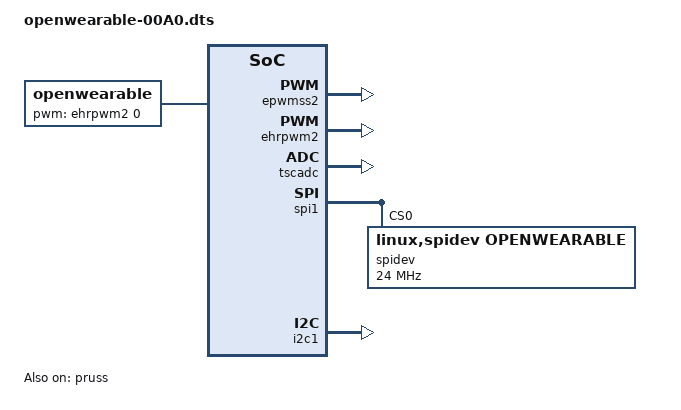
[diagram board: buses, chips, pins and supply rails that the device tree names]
/*
* Copyright (C) 2013 Matt Ranostay <mranostay@gmail.com>
*
* This program is free software; you can redistribute it and/or modify
* it under the terms of the GNU General Public License version 2 as
* published by the Free Software Foundation.
*/

/*
* Modified by Jonathan Realmuto <jonreal731@gmail.com>
*/


/dts-v1/;
/plugin/;

/ {
  compatible = "ti,beaglebone", "ti,beaglebone-black";

  /* identification */
  part-number = "OPENWEARABLE";
  version = "00A0";

  /* state the resources this cape uses */
  exclusive-use =

    /**** pru debug pins ****/
    "P9.27",  /* pr1_pru0_pru_r30_5 - debug pin */
    "P8.27",  /* pr1_pru1_pru_r30_8 - debug pin */

    /**** PWM pins ****/
    "P8.19",  /* ehrpwm2A */

    /**** Motor pins ***/
    "P8.28", /* pr1_pru1_pru_r30_10 - motor dir */
    "P8.29", /* pr1_pru1_pru_r30_9 - motor enb */

    /**** ADC Mux pin ****/
    "P9.25", /* pr1_pru0_pru_r30_7 - mux sel */

    /**** Vicon Sync ****/
    "P9.24", /* pr1_pru0_pru_r31_16 - vicon sync */

    /**** ADC pins ****/
    "P9.39",  /* AIN0 */
    "P9.40",  /* AIN1 */
    "P9.37",  /* AIN2 */
    "P9.38",  /* AIN3 */
    "P9.33",  /* AIN4 */
    "P9.36",  /* AIN5 */
    "P9.35",  /* AIN6 */

    /**** SPI1 pins ****/
    "P9.28",  /* SPI1_CS0 */
    "P9.42",  /* SPI1_CS1 */
    //"P9.19", /* SPI1_CS1 */
    //"P9.20", /* SPI1_CS0 */
    "P9.29",  /* SPI1_D0 */
    "P9.30",  /* SPI1_D1 */
    "P9.31",  /* SPI1_SCLK */

    /**** I2C1 pins ****/
    "P9.17",  /* I2C1_SCL */
    "P9.18",  /* I2C1_SDA */

    /* the hardware IP uses */
    "ehrpwm2A",
    "tscadc",
    "spi1",
    "i2c1",
    "pruss";

  /*----- pin mux -----*/

  /* Bit 6 - SLEWCTRL - 0 (fast) | 1 (slow)
   * Bit 5 - RXACTIVE - 0 (reciever disable) | 1 (reciever enable)
   * Bit 4 - PULLTYPESEL - 0 (pulldown) | 1 (pullup)
   * Bit 3 - PULLUDEN - 0 (enable) | 1 (disable)
   * Bit 2-0 - MUXMODE
   */

  fragment@0 {
    target = <&am33xx_pinmux>;
    __overlay__ {

      pwm_pins: pinmux_pwm_pins {
        pinctrl-single,pins = <
          0x020 0x0C  /* P8.19 - ehrpwm2A, MODE4 */
        >;
      };

      pruss_pins: pinmux_pruss_pins {
        pinctrl-single,pins = <
          0x1A4 0x15  /* P9.27 - pr1_pru0_pru_r30_5, MODE5 | OUTPUT | PU */
          0x0E0 0x15  /* P8.27 - pr1_pru1_pru_r30_8, MODE5 | OUTPUT | PU */
          0x0E8 0x15  /* P8.28 - pr1_pru1_pru_r30_10, MODE5 | OUTPUT | PU */
          0x0E4 0x15  /* P8.29 - pr1_pru1_pru_r30_9, MODE5 | OUTPUT | PU */
          0x1AC 0x15  /* P9.25 - pr1_pru0_pru_r30_7, MODE5 | OUTPUT | PU */
          0x184 0x26  /* P9.24 - pr1_pru0_pru_r31_16, MODE6 | INPUT | PD */
        >;
      };

      spi_pins: pinmux_spi_pins {
        pinctrl-single,pins = <
          0x19C 0x13  /* P9.28 - spi1_cs0,  MODE3 | OUTPUT_PULLUP */
          0x164 0x12  /* P9.42 - spi1_cs1, MODE2 | OUTPUT_PULLUP */
          0x1A0 0x06  /* P9.42 alternate mux -- set as input */
          0x194 0x33  /* P9.29 - spi1_d0, MODE3 | INPUT_PULLUP */
          0x198 0x13  /* P9.30 - spi1_d1, MODE3 | OUTPUT_PULLUP */
          0x190 0x33  /* P9.31 - spi1_sclk, MODE3 | INPUT_PULLUP */
        >;
      };

      i2c1_pins: pinmux_i2c1_pins{
        pinctrl-single,pins = <
          0x15C 0x72  /* P9.17 - i2c1_scl, MODE2 | INPUT_PULLUP (bi-dir)*/
          0x158 0x72  /* P9.18 - i2c1_sda, MODE2 | INPUT_PULLUP (bi-dir)*/
        >;
      };
    };
  };

  /*----- pru enable -----*/

  fragment@1 {
    target = <&pruss>;
    __overlay__ {
      status = "okay";
      pinctrl-names = "default";
      pinctrl-0 = <&pruss_pins>;
    };
  };

  /*------ PWM enable ------*/

  fragment@2 {
    target = <&epwmss2>;
    __overlay__ {
      status = "okay";
    };
  };

  fragment@3 {
    target = <&ehrpwm2>;
    __overlay__ {
      status = "okay";
      pinctrl-names = "default";
      pinctrl-0 = <&pwm_pins>;
    };
  };

  /*------ PWM settings ------*/

  fragment@4 {
    target = <&ocp>;
    __overlay__ {

      #address-cells = <1>;
      #size-cells = <1>;

      openwearable {
        compatible = "openwearable";
        status = "okay";

        pinctrl-names = "default";
        pinctrl-0 = <&pwm_pins>;

        pwms = <&ehrpwm2 0 500000 0>;
        pwm-names = "openwearable";

        pwm-frequency = <9250>;
        pwm-duty-cycle = <50>;

        default-brightness = <35>;

      };
    };
  };

  /*------ SPI settings -----*/

  fragment@5 {
    target = <&spi1>;
    __overlay__ {

      #address-cells = <1>;
      #size-cells = <0>;
      status = "okay";
      pinctrl-names = "default";
      pinctrl-0 = <&spi_pins>;

      spidev@1 {
        spi-max-frequency = <24000000>;
        reg = <0>;
        compatible = "linux,spidev,openwearable";
      };
    };
  };


  /*----- I2C1 ------*/


  fragment@6 {
    target = <&i2c1>;
    __overlay__ {
      #address-cells = <1>;
      #size-cells = <1>;
      status = "okay";
      pinctrl-names = "default";
      pinctrl-0 = <&i2c1_pins>;
    };
 };


  /*------ ADC settings ------*/

  fragment@7 {
    target = <&ocp>;
    __overlay__ {

      #address-cells = <1>;
      #size-cells = <1>;

      tscadc {
        compatible = "ti,ti-tscadc";
        reg = <0x44e0d000 0x1000>;
        interrupt-parent = <&intc>;
        interrupts = <16>;
        ti,hwmods = "adc_tsc";
        status = "okay";
        linux,phandle = <0x3d>;
        phandle = <0x3d>;

        adc {
          ti,adc-channels = <0 1 2 3 4 5 6 7>;
        };
      };
    };
  };
};
